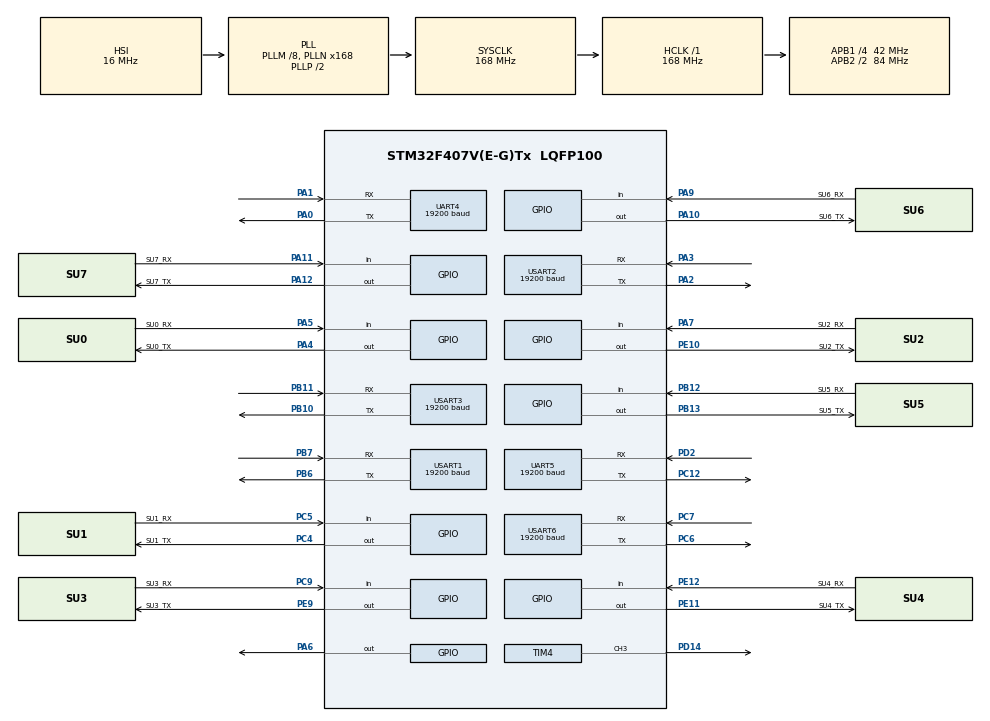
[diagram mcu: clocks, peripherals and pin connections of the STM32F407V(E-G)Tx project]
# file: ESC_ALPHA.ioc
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FREERTOS.Tasks01=defaultTask,0,128,StartDefaultTask,Default,NULL,Dynamic,NULL,NULL
Mcu.Family=STM32F4
Mcu.Name=STM32F407V(E-G)Tx
Mcu.Package=LQFP100
NVIC.PriorityGroup=NVIC_PRIORITYGROUP_4
NVIC.TIM1_UP_TIM10_IRQn=true\:5\:0\:false\:false\:true\:true\:true\:true
NVIC.UART4_IRQn=true\:5\:0\:false\:false\:true\:true\:true\:true
NVIC.UART5_IRQn=true\:5\:0\:false\:false\:true\:true\:true\:true
NVIC.USART1_IRQn=true\:5\:0\:false\:false\:true\:true\:true\:true
NVIC.USART2_IRQn=true\:5\:0\:true\:false\:true\:true\:true\:true
NVIC.USART3_IRQn=true\:5\:0\:false\:false\:true\:true\:true\:true
NVIC.USART6_IRQn=true\:5\:0\:false\:false\:true\:true\:true\:true
PA0-WKUP.Mode=Asynchronous
PA0-WKUP.Signal=UART4_TX
PA1.Mode=Asynchronous
PA1.Signal=UART4_RX
PA10.GPIO_Label=SU6_TX
PA10.Signal=GPIO_Output
PA11.GPIO_Label=SU7_RX
PA11.GPIO_PuPd=GPIO_PULLUP
PA11.Signal=GPIO_Input
PA12.GPIO_Label=SU7_TX
PA12.Signal=GPIO_Output
PA13.Mode=Serial_Wire
PA13.Signal=SYS_JTMS-SWDIO
PA14.Mode=Serial_Wire
PA14.Signal=SYS_JTCK-SWCLK
PA2.Mode=Asynchronous
PA2.Signal=USART2_TX
PA3.GPIO_PuPd=GPIO_PULLUP
PA3.Mode=Asynchronous
PA3.Signal=USART2_RX
PA4.GPIO_Label=SU0_TX
PA4.GPIO_PuPd=GPIO_PULLUP
PA4.GPIO_Speed=GPIO_SPEED_FREQ_VERY_HIGH
PA4.PinState=GPIO_PIN_SET
PA4.Signal=GPIO_Output
PA5.GPIO_Label=SU0_RX
PA5.GPIO_PuPd=GPIO_PULLUP
PA5.Signal=GPIO_Input
PA6.Signal=GPIO_Output
PA7.GPIO_Label=SU2_RX
PA7.GPIO_PuPd=GPIO_PULLUP
PA7.Signal=GPIO_Input
PA9.GPIO_Label=SU6_RX
PA9.GPIO_PuPd=GPIO_PULLUP
PA9.Signal=GPIO_Input
PB10.Mode=Asynchronous
PB10.Signal=USART3_TX
PB11.GPIO_PuPd=GPIO_PULLUP
PB11.Mode=Asynchronous
PB11.Signal=USART3_RX
PB12.GPIO_Label=SU5_RX
PB12.GPIO_PuPd=GPIO_PULLUP
PB12.Signal=GPIO_Input
PB13.GPIO_Label=SU5_TX
PB13.Signal=GPIO_Output
PB6.Mode=Asynchronous
PB6.Signal=USART1_TX
PB7.GPIO_PuPd=GPIO_PULLUP
PB7.Mode=Asynchronous
PB7.Signal=USART1_RX
PC12.Mode=Asynchronous
PC12.Signal=UART5_TX
PC4.GPIO_Label=SU1_TX
PC4.GPIO_Speed=GPIO_SPEED_FREQ_VERY_HIGH
PC4.PinState=GPIO_PIN_SET
PC4.Signal=GPIO_Output
PC5.GPIO_Label=SU1_RX
PC5.GPIO_PuPd=GPIO_PULLUP
PC5.Signal=GPIO_Input
PC6.Mode=Asynchronous
PC6.Signal=USART6_TX
PC7.GPIO_PuPd=GPIO_PULLUP
PC7.Mode=Asynchronous
PC7.Signal=USART6_RX
PC9.GPIO_Label=SU3_RX
PC9.GPIO_PuPd=GPIO_PULLUP
PC9.Signal=GPIO_Input
PD14.Signal=S_TIM4_CH3
PD2.Mode=Asynchronous
PD2.Signal=UART5_RX
PE10.GPIO_Label=SU2_TX
PE10.Signal=GPIO_Output
PE11.GPIO_Label=SU4_TX
PE11.Signal=GPIO_Output
PE12.GPIO_Label=SU4_RX
PE12.GPIO_PuPd=GPIO_PULLUP
PE12.Signal=GPIO_Input
PE9.GPIO_Label=SU3_TX
PE9.Signal=GPIO_Output
PH0-OSC_IN.Mode=HSE-External-Oscillator
PH0-OSC_IN.Signal=RCC_OSC_IN
PH1-OSC_OUT.Mode=HSE-External-Oscillator
PH1-OSC_OUT.Signal=RCC_OSC_OUT
ProjectManager.HeapSize=0x200
ProjectManager.StackSize=0x400
ProjectManager.TargetToolchain=STM32CubeIDE
RCC.48MHZClocksFreq_Value=84000000
RCC.AHBFreq_Value=168000000
RCC.APB1CLKDivider=RCC_HCLK_DIV4
RCC.APB1Freq_Value=42000000
RCC.APB1TimFreq_Value=84000000
RCC.APB2CLKDivider=RCC_HCLK_DIV2
RCC.APB2Freq_Value=84000000
RCC.APB2TimFreq_Value=168000000
RCC.CortexFreq_Value=168000000
RCC.HCLKFreq_Value=168000000
RCC.HSE_VALUE=8000000
RCC.HSI_VALUE=16000000
RCC.LSE_VALUE=32768
RCC.PLLM=8
RCC.PLLN=168
RCC.SYSCLKFreq_VALUE=168000000
RCC.SYSCLKSource=RCC_SYSCLKSOURCE_PLLCLK
RCC.VCOOutputFreq_Value=336000000
SH.S_TIM4_CH3.0=TIM4_CH3,PWM Generation3 CH3
TIM10.AutoReloadPreload=TIM_AUTORELOAD_PRELOAD_ENABLE
TIM10.Period=9
TIM10.Prescaler=175
TIM4.Channel-PWM\ Generation3\ CH3=TIM_CHANNEL_3
TIM4.Period=999
TIM4.Prescaler=167
UART4.BaudRate=19200
UART4.VirtualMode=Asynchronous
UART5.BaudRate=19200
UART5.VirtualMode=Asynchronous
USART1.BaudRate=19200
USART1.VirtualMode=VM_ASYNC
USART2.BaudRate=19200
USART2.Mode=MODE_TX_RX
USART2.VirtualMode=VM_ASYNC
USART3.BaudRate=19200
USART3.Mode=MODE_RX
USART3.VirtualMode=VM_ASYNC
USART6.BaudRate=19200
USART6.VirtualMode=VM_ASYNC
VP_FREERTOS_VS_CMSIS_V1.Mode=CMSIS_V1
VP_TIM10_VS_ClockSourceINT.Mode=Enable_Timer
VP_TIM4_VS_ClockSourceINT.Mode=Internal
board=custom

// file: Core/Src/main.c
/* USER CODE BEGIN Header */
/**
  ******************************************************************************
  * @file           : main.c
  * @brief          : Main program body
  ******************************************************************************
  * @attention
  *
  * <h2><center>&copy; Copyright (c) 2021 STMicroelectronics.
  * All rights reserved.</center></h2>
  *
  * This software component is licensed by ST under BSD 3-Clause license,
  * the "License"; You may not use this file except in compliance with the
  * License. You may obtain a copy of the License at:
  *                        opensource.org/licenses/BSD-3-Clause
  *
  ******************************************************************************
  */
/* USER CODE END Header */
#include "main.h"
#include "cmsis_os.h"

/* USER CODE BEGIN Includes */
#include "ringbuf.h"
#include "telemetry_rtr.h"
#include "softuart.h"
//#include "mavlink/telemetry/mavlink.h"
#include "c_library_v2-master/ardupilotmega/mavlink.h"
/* USER CODE END Includes */

/* USER CODE BEGIN PD */
#define RXBUFFERSIZE        1
#define RINGBUF_BUFF_LEN    100
#define SYSTEM_ID           1
#define COMPONENT_ID        0
/* USER CODE END PD */

TIM_HandleTypeDef htim4;
TIM_HandleTypeDef htim10;

UART_HandleTypeDef huart4;
UART_HandleTypeDef huart5;
UART_HandleTypeDef huart1;
UART_HandleTypeDef huart2;
UART_HandleTypeDef huart3;
UART_HandleTypeDef huart6;

osThreadId defaultTaskHandle;
/* USER CODE BEGIN PV */
static volatile RINGBUF *ringbuf0;
static volatile RINGBUF *ringbuf1;
static volatile RINGBUF *ringbuf2;
static volatile RINGBUF *ringbuf3;
static volatile RINGBUF *ringbuf4;
static volatile RINGBUF *ringbuf5;
static volatile RINGBUF *ringbuf6;
static volatile RINGBUF *ringbuf7;
TelemetryType telemetry0, telemetry1, telemetry2, telemetry3, telemetry4, telemetry5, telemetry6, telemetry7, TelemetryArray[8];
ReceiveStatusTyte recStatus0, recStatus1, recStatus2, recStatus3, recStatus4, recStatus5, recStatus6, recStatus7;
RINGBUF ring_0, ring_1, ring_2, ring_3, ring_4, ring_5, ring_6, ring_7;
osThreadId ESC0, ESC1, ESC2, ESC3, ESC4, ESC5, ESC6, ESC7;
/* USER CODE END PV */

void SystemClock_Config(void);
static void MX_GPIO_Init(void);
static void MX_USART2_UART_Init(void);
static void MX_TIM10_Init(void);
static void MX_USART3_UART_Init(void);
static void MX_UART4_Init(void);
static void MX_UART5_Init(void);
static void MX_USART1_UART_Init(void);
static void MX_USART6_UART_Init(void);
static void MX_TIM4_Init(void);
void StartDefaultTask(void const * argument);

/* USER CODE BEGIN PFP */
void Parse_ESC0(void const * parameter);
void Parse_ESC1(void const * parameter);
void Parse_ESC2(void const * parameter);
void Parse_ESC3(void const * parameter);
void Parse_ESC4(void const * parameter);
void Parse_ESC5(void const * parameter);
void Parse_ESC6(void const * parameter);
void Parse_ESC7(void const * parameter);

uint8_t aRxBuffer_0, aRxBuffer_1, aRxBuffer_2, aRxBuffer_3, aRxBuffer_4, aRxBuffer_5, aRxBuffer_6, aRxBuffer_7;
uint8_t ptBufferUART0[RINGBUF_BUFF_LEN], ptBufferUART1[RINGBUF_BUFF_LEN], ptBufferUART2[RINGBUF_BUFF_LEN], ptBufferUART3[RINGBUF_BUFF_LEN],
		ptBufferUART4[RINGBUF_BUFF_LEN], ptBufferUART5[RINGBUF_BUFF_LEN], ptBufferUART6[RINGBUF_BUFF_LEN], ptBufferUART7[RINGBUF_BUFF_LEN];
uint8_t c0,c1,c2,c3,c4,c5,c6,c7;
uint8_t PWM=0;
char a[20], b[20];
int failESC0 = 0;
int failESC1 = 0;
int failESC2 = 0;
int failESC3 = 0;
int failESC4 = 0;
int failESC5 = 0;
int failESC6 = 0;
int failESC7 = 0;
int successESC0 = 0;
int successESC1 = 0;
int successESC2 = 0;
int successESC3 = 0;
int successESC4 = 0;
int successESC5 = 0;
int successESC6 = 0;
int successESC7 = 0;
/* USER CODE END PFP */

/* USER CODE BEGIN 0 */

uint8_t getdata(uint8_t SoftUartNumber)
{
    uint8_t ch;
    while(SoftUartRxAlavailable(SoftUartNumber)==0);
    SoftUartReadRxBuffer(SoftUartNumber,&ch,1);
    return ch;
}

mavlink_esc_telemetry_1_to_4_t esc1 = {0};
mavlink_esc_telemetry_5_to_8_t esc2 = {0};
void transmit_mavlink_esc_1_to_4(mavlink_esc_telemetry_1_to_4_t esc){
    mavlink_message_t msg;
    uint8_t _buffer[100]= {0};
    for (int i = 0; i<4; i++){
        esc.voltage[i] = TelemetryArray[i].voltage;
        esc.count[i] = TelemetryArray[i].BaleNo;
        esc.totalcurrent[i] = TelemetryArray[i].current;
        esc.rpm[i] = TelemetryArray[i].rpm;
        esc.current[i] = TelemetryArray[i].phase;
    }
    mavlink_msg_esc_telemetry_1_to_4_encode(SYSTEM_ID, COMPONENT_ID, &msg, &esc);
    uint8_t len = mavlink_msg_to_send_buffer(_buffer, &msg);
//    SoftUartPuts(0, _buffer, len);
    HAL_UART_Transmit(&huart4, _buffer, len, 100);
//    HAL_UART_Transmit_IT(&huart4, _buffer, len);
}
void transmit_mavlink_esc_5_to_8(mavlink_esc_telemetry_5_to_8_t esc){
    mavlink_message_t msg;
    uint8_t _buffer[100]= {0};
    for (int i = 0; i<4; i++){
        esc.voltage[i] = TelemetryArray[i+4].voltage;
        esc.count[i] = TelemetryArray[i+4].BaleNo;
        esc.totalcurrent[i] = TelemetryArray[i+4].current;
        esc.rpm[i] = TelemetryArray[i+4].rpm;
        esc.current[i] = TelemetryArray[i+4].phase;
    }
    mavlink_msg_esc_telemetry_5_to_8_encode(SYSTEM_ID, COMPONENT_ID, &msg, &esc);
    uint8_t len = mavlink_msg_to_send_buffer(_buffer, &msg);
//    SoftUartPuts(0, _buffer, len);
    HAL_UART_Transmit(&huart4, _buffer, len, 100);
//    HAL_UART_Transmit_IT(&huart4, _buffer, len);
}
/* USER CODE END 0 */

int main(void)
{

  /* MCU Configuration--------------------------------------------------------*/

  /* Reset of all peripherals, Initializes the Flash interface and the Systick. */
  HAL_Init();

  /* Configure the system clock */
  SystemClock_Config();

  /* Initialize all configured peripherals */
  MX_GPIO_Init();
  MX_USART2_UART_Init();
  MX_TIM10_Init();
  MX_USART3_UART_Init();
  MX_UART4_Init();
  MX_UART5_Init();
  MX_USART1_UART_Init();
  MX_USART6_UART_Init();
  MX_TIM4_Init();
  /* USER CODE BEGIN 2 */
  HAL_TIM_PWM_Start(&htim4, TIM_CHANNEL_3);
//  __HAL_TIM_SetCompare(&htim4,TIM_CHANNEL_3,600);
  HAL_UART_Receive_IT(&huart1, &aRxBuffer_1, RXBUFFERSIZE);
  HAL_UART_Receive_IT(&huart2, &aRxBuffer_2, RXBUFFERSIZE);
  HAL_UART_Receive_IT(&huart3, &aRxBuffer_3, RXBUFFERSIZE);
  HAL_UART_Receive_IT(&huart4, &aRxBuffer_4, RXBUFFERSIZE);
  HAL_UART_Receive_IT(&huart5, &aRxBuffer_5, RXBUFFERSIZE);
  HAL_UART_Receive_IT(&huart6, &aRxBuffer_6, RXBUFFERSIZE);
  HAL_TIM_Base_Start_IT(&htim10);

  ringbuf0 = &ring_0;
  ringbuf1 = &ring_1;
  ringbuf2 = &ring_2;
  ringbuf3 = &ring_3;
  ringbuf4 = &ring_4;
  ringbuf5 = &ring_5;
  ringbuf6 = &ring_6;
  ringbuf7 = &ring_7;

  RINGBUF_Init((RINGBUF*)ringbuf0, ptBufferUART0, RINGBUF_BUFF_LEN);
  RINGBUF_Init((RINGBUF*)ringbuf1, ptBufferUART1, RINGBUF_BUFF_LEN);
  RINGBUF_Init((RINGBUF*)ringbuf2, ptBufferUART2, RINGBUF_BUFF_LEN);
  RINGBUF_Init((RINGBUF*)ringbuf4, ptBufferUART4, RINGBUF_BUFF_LEN);
  RINGBUF_Init((RINGBUF*)ringbuf3, ptBufferUART3, RINGBUF_BUFF_LEN);
  RINGBUF_Init((RINGBUF*)ringbuf5, ptBufferUART5, RINGBUF_BUFF_LEN);
  RINGBUF_Init((RINGBUF*)ringbuf6, ptBufferUART6, RINGBUF_BUFF_LEN);
  RINGBUF_Init((RINGBUF*)ringbuf7, ptBufferUART7, RINGBUF_BUFF_LEN);

  SoftUartInit(0, SU0_TX_GPIO_Port, SU0_TX_Pin, SU0_RX_GPIO_Port, SU0_RX_Pin);
  SoftUartInit(1, SU1_TX_GPIO_Port, SU1_TX_Pin, SU1_RX_GPIO_Port, SU1_RX_Pin);
  SoftUartInit(2, SU2_TX_GPIO_Port, SU2_TX_Pin, SU2_RX_GPIO_Port, SU2_RX_Pin);
//  SoftUartInit(3, SU4_TX_GPIO_Port, SU4_TX_Pin, SU4_RX_GPIO_Port, SU4_RX_Pin);
//  SoftUartInit(5, SU5_TX_GPIO_Port, SU5_TX_Pin, SU5_RX_GPIO_Port, SU5_RX_Pin);
//  SoftUartInit(4, SU7_TX_GPIO_Port, SU7_TX_Pin, SU7_RX_GPIO_Port, SU7_RX_Pin);

  SoftUartEnableRx(0);
  SoftUartEnableRx(1);
  SoftUartEnableRx(2);
//  SoftUartEnableRx(3);
//  SoftUartEnableRx(4);
//  SoftUartEnableRx(5);

  /* USER CODE END 2 */

  /* Create the thread(s) */
  /* definition and creation of defaultTask */
//  osThreadDef(defaultTask, StartDefaultTask, osPriorityNormal, 0, 128);
//  defaultTaskHandle = osThreadCreate(osThread(defaultTask), NULL);

  /* USER CODE BEGIN RTOS_THREADS */
// osThreadDef(Task0, Parse_ESC0, osPriorityHigh, 0, 128);
// ESC0 = osThreadCreate(osThread(Task0), NULL);
  osThreadDef(Task1, Parse_ESC1, osPriorityHigh, 0, 128);
  ESC1 = osThreadCreate(osThread(Task1), NULL);
  osThreadDef(Task2, Parse_ESC2, osPriorityHigh, 0, 512);
  ESC2 = osThreadCreate(osThread(Task2), NULL);
//  osThreadDef(Task3, Parse_ESC3, osPriorityHigh, 0, 256);
//  ESC3 = osThreadCreate(osThread(Task3), NULL);
//  osThreadDef(Task4, Parse_ESC4, osPriorityNormal, 0, 128);
//  ESC4 = osThreadCreate(osThread(Task4), NULL);
//  osThreadDef(Task5, Parse_ESC5, osPriorityNormal, 0, 128);
//  ESC5 = osThreadCreate(osThread(Task5), NULL);
//  osThreadDef(Task6, Parse_ESC6, osPriorityNormal, 0, 128);
//  ESC6 = osThreadCreate(osThread(Task6), NULL);
//  osThreadDef(Task7, Parse_ESC7, osPriorityHigh, 0, 128);
//  ESC7 = osThreadCreate(osThread(Task7), NULL);

  /* add threads, ... */
  /* USER CODE END RTOS_THREADS */

  /* Start scheduler */
  osKernelStart();

  /* We should never get here as control is now taken by the scheduler */
  /* Infinite loop */
  while (1)
  {

  }
}

void SystemClock_Config(void)
{
  RCC_OscInitTypeDef RCC_OscInitStruct = {0};
  RCC_ClkInitTypeDef RCC_ClkInitStruct = {0};

  /** Configure the main internal regulator output voltage
  */
  __HAL_RCC_PWR_CLK_ENABLE();
  __HAL_PWR_VOLTAGESCALING_CONFIG(PWR_REGULATOR_VOLTAGE_SCALE1);
  /** Initializes the RCC Oscillators according to the specified parameters
  * in the RCC_OscInitTypeDef structure.
  */
  RCC_OscInitStruct.OscillatorType = RCC_OSCILLATORTYPE_HSI;
  RCC_OscInitStruct.HSIState = RCC_HSI_ON;
  RCC_OscInitStruct.HSICalibrationValue = RCC_HSICALIBRATION_DEFAULT;
  RCC_OscInitStruct.PLL.PLLState = RCC_PLL_ON;
  RCC_OscInitStruct.PLL.PLLSource = RCC_PLLSOURCE_HSI;
  RCC_OscInitStruct.PLL.PLLM = 8;
  RCC_OscInitStruct.PLL.PLLN = 168;
  RCC_OscInitStruct.PLL.PLLP = RCC_PLLP_DIV2;
  RCC_OscInitStruct.PLL.PLLQ = 4;
  if (HAL_RCC_OscConfig(&RCC_OscInitStruct) != HAL_OK)
  {
    Error_Handler();
  }
  /** Initializes the CPU, AHB and APB buses clocks
  */
  RCC_ClkInitStruct.ClockType = RCC_CLOCKTYPE_HCLK|RCC_CLOCKTYPE_SYSCLK
                              |RCC_CLOCKTYPE_PCLK1|RCC_CLOCKTYPE_PCLK2;
  RCC_ClkInitStruct.SYSCLKSource = RCC_SYSCLKSOURCE_PLLCLK;
  RCC_ClkInitStruct.AHBCLKDivider = RCC_SYSCLK_DIV1;
  RCC_ClkInitStruct.APB1CLKDivider = RCC_HCLK_DIV4;
  RCC_ClkInitStruct.APB2CLKDivider = RCC_HCLK_DIV2;

  if (HAL_RCC_ClockConfig(&RCC_ClkInitStruct, FLASH_LATENCY_5) != HAL_OK)
  {
    Error_Handler();
  }
}

static void MX_TIM4_Init(void)
{

  TIM_ClockConfigTypeDef sClockSourceConfig = {0};
  TIM_MasterConfigTypeDef sMasterConfig = {0};
  TIM_OC_InitTypeDef sConfigOC = {0};

  htim4.Instance = TIM4;
  htim4.Init.Prescaler = 167;
  htim4.Init.CounterMode = TIM_COUNTERMODE_UP;
  htim4.Init.Period = 999;
  htim4.Init.ClockDivision = TIM_CLOCKDIVISION_DIV1;
  htim4.Init.AutoReloadPreload = TIM_AUTORELOAD_PRELOAD_DISABLE;
  if (HAL_TIM_Base_Init(&htim4) != HAL_OK)
  {
    Error_Handler();
  }
  sClockSourceConfig.ClockSource = TIM_CLOCKSOURCE_INTERNAL;
  if (HAL_TIM_ConfigClockSource(&htim4, &sClockSourceConfig) != HAL_OK)
  {
    Error_Handler();
  }
  if (HAL_TIM_PWM_Init(&htim4) != HAL_OK)
  {
    Error_Handler();
  }
  sMasterConfig.MasterOutputTrigger = TIM_TRGO_RESET;
  sMasterConfig.MasterSlaveMode = TIM_MASTERSLAVEMODE_DISABLE;
  if (HAL_TIMEx_MasterConfigSynchronization(&htim4, &sMasterConfig) != HAL_OK)
  {
    Error_Handler();
  }
  sConfigOC.OCMode = TIM_OCMODE_PWM1;
  sConfigOC.Pulse = 0;
  sConfigOC.OCPolarity = TIM_OCPOLARITY_HIGH;
  sConfigOC.OCFastMode = TIM_OCFAST_DISABLE;
  if (HAL_TIM_PWM_ConfigChannel(&htim4, &sConfigOC, TIM_CHANNEL_3) != HAL_OK)
  {
    Error_Handler();
  }
  HAL_TIM_MspPostInit(&htim4);

}

static void MX_TIM10_Init(void)
{

  htim10.Instance = TIM10;
  htim10.Init.Prescaler = 175;
  htim10.Init.CounterMode = TIM_COUNTERMODE_UP;
  htim10.Init.Period = 9;
  htim10.Init.ClockDivision = TIM_CLOCKDIVISION_DIV1;
  htim10.Init.AutoReloadPreload = TIM_AUTORELOAD_PRELOAD_ENABLE;
  if (HAL_TIM_Base_Init(&htim10) != HAL_OK)
  {
    Error_Handler();
  }

}

static void MX_UART4_Init(void)
{

  huart4.Instance = UART4;
  huart4.Init.BaudRate = 19200;
  huart4.Init.WordLength = UART_WORDLENGTH_8B;
  huart4.Init.StopBits = UART_STOPBITS_1;
  huart4.Init.Parity = UART_PARITY_NONE;
  huart4.Init.Mode = UART_MODE_TX_RX;
  huart4.Init.HwFlowCtl = UART_HWCONTROL_NONE;
  huart4.Init.OverSampling = UART_OVERSAMPLING_16;
  if (HAL_UART_Init(&huart4) != HAL_OK)
  {
    Error_Handler();
  }

}

static void MX_UART5_Init(void)
{

  huart5.Instance = UART5;
  huart5.Init.BaudRate = 19200;
  huart5.Init.WordLength = UART_WORDLENGTH_8B;
  huart5.Init.StopBits = UART_STOPBITS_1;
  huart5.Init.Parity = UART_PARITY_NONE;
  huart5.Init.Mode = UART_MODE_TX_RX;
  huart5.Init.HwFlowCtl = UART_HWCONTROL_NONE;
  huart5.Init.OverSampling = UART_OVERSAMPLING_16;
  if (HAL_UART_Init(&huart5) != HAL_OK)
  {
    Error_Handler();
  }

}

static void MX_USART1_UART_Init(void)
{

  huart1.Instance = USART1;
  huart1.Init.BaudRate = 19200;
  huart1.Init.WordLength = UART_WORDLENGTH_8B;
  huart1.Init.StopBits = UART_STOPBITS_1;
  huart1.Init.Parity = UART_PARITY_NONE;
  huart1.Init.Mode = UART_MODE_TX_RX;
  huart1.Init.HwFlowCtl = UART_HWCONTROL_NONE;
  huart1.Init.OverSampling = UART_OVERSAMPLING_16;
  if (HAL_UART_Init(&huart1) != HAL_OK)
  {
    Error_Handler();
  }

}

static void MX_USART2_UART_Init(void)
{

  huart2.Instance = USART2;
  huart2.Init.BaudRate = 19200;
  huart2.Init.WordLength = UART_WORDLENGTH_8B;
  huart2.Init.StopBits = UART_STOPBITS_1;
  huart2.Init.Parity = UART_PARITY_NONE;
  huart2.Init.Mode = UART_MODE_TX_RX;
  huart2.Init.HwFlowCtl = UART_HWCONTROL_NONE;
  huart2.Init.OverSampling = UART_OVERSAMPLING_16;
  if (HAL_UART_Init(&huart2) != HAL_OK)
  {
    Error_Handler();
  }

}

static void MX_USART3_UART_Init(void)
{

  huart3.Instance = USART3;
  huart3.Init.BaudRate = 19200;
  huart3.Init.WordLength = UART_WORDLENGTH_8B;
  huart3.Init.StopBits = UART_STOPBITS_1;
  huart3.Init.Parity = UART_PARITY_NONE;
  huart3.Init.Mode = UART_MODE_RX;
  huart3.Init.HwFlowCtl = UART_HWCONTROL_NONE;
  huart3.Init.OverSampling = UART_OVERSAMPLING_16;
  if (HAL_UART_Init(&huart3) != HAL_OK)
  {
    Error_Handler();
  }

}

static void MX_USART6_UART_Init(void)
{

  huart6.Instance = USART6;
  huart6.Init.BaudRate = 19200;
  huart6.Init.WordLength = UART_WORDLENGTH_8B;
  huart6.Init.StopBits = UART_STOPBITS_1;
  huart6.Init.Parity = UART_PARITY_NONE;
  huart6.Init.Mode = UART_MODE_TX_RX;
  huart6.Init.HwFlowCtl = UART_HWCONTROL_NONE;
  huart6.Init.OverSampling = UART_OVERSAMPLING_16;
  if (HAL_UART_Init(&huart6) != HAL_OK)
  {
    Error_Handler();
  }

}

static void MX_GPIO_Init(void)
{
  GPIO_InitTypeDef GPIO_InitStruct = {0};

  /* GPIO Ports Clock Enable */
  __HAL_RCC_GPIOH_CLK_ENABLE();
  __HAL_RCC_GPIOA_CLK_ENABLE();
  __HAL_RCC_GPIOC_CLK_ENABLE();
  __HAL_RCC_GPIOE_CLK_ENABLE();
  __HAL_RCC_GPIOB_CLK_ENABLE();
  __HAL_RCC_GPIOD_CLK_ENABLE();

  /*Configure GPIO pin Output Level */
  HAL_GPIO_WritePin(SU0_TX_GPIO_Port, SU0_TX_Pin, GPIO_PIN_SET);

  /*Configure GPIO pin Output Level */
  HAL_GPIO_WritePin(GPIOA, GPIO_PIN_6|SU6_TX_Pin|SU7_TX_Pin, GPIO_PIN_RESET);

  /*Configure GPIO pin Output Level */
  HAL_GPIO_WritePin(SU1_TX_GPIO_Port, SU1_TX_Pin, GPIO_PIN_SET);

  /*Configure GPIO pin Output Level */
  HAL_GPIO_WritePin(GPIOE, SU3_TX_Pin|SU2_TX_Pin|SU4_TX_Pin, GPIO_PIN_RESET);

  /*Configure GPIO pin Output Level */
  HAL_GPIO_WritePin(SU5_TX_GPIO_Port, SU5_TX_Pin, GPIO_PIN_RESET);

  /*Configure GPIO pin : SU0_TX_Pin */
  GPIO_InitStruct.Pin = SU0_TX_Pin;
  GPIO_InitStruct.Mode = GPIO_MODE_OUTPUT_PP;
  GPIO_InitStruct.Pull = GPIO_PULLUP;
  GPIO_InitStruct.Speed = GPIO_SPEED_FREQ_VERY_HIGH;
  HAL_GPIO_Init(SU0_TX_GPIO_Port, &GPIO_InitStruct);

  /*Configure GPIO pins : SU0_RX_Pin SU2_RX_Pin SU6_RX_Pin SU7_RX_Pin */
  GPIO_InitStruct.Pin = SU0_RX_Pin|SU2_RX_Pin|SU6_RX_Pin|SU7_RX_Pin;
  GPIO_InitStruct.Mode = GPIO_MODE_INPUT;
  GPIO_InitStruct.Pull = GPIO_PULLUP;
  HAL_GPIO_Init(GPIOA, &GPIO_InitStruct);

  /*Configure GPIO pins : PA6 SU6_TX_Pin SU7_TX_Pin */
  GPIO_InitStruct.Pin = GPIO_PIN_6|SU6_TX_Pin|SU7_TX_Pin;
  GPIO_InitStruct.Mode = GPIO_MODE_OUTPUT_PP;
  GPIO_InitStruct.Pull = GPIO_NOPULL;
  GPIO_InitStruct.Speed = GPIO_SPEED_FREQ_LOW;
  HAL_GPIO_Init(GPIOA, &GPIO_InitStruct);

  /*Configure GPIO pin : SU1_TX_Pin */
  GPIO_InitStruct.Pin = SU1_TX_Pin;
  GPIO_InitStruct.Mode = GPIO_MODE_OUTPUT_PP;
  GPIO_InitStruct.Pull = GPIO_NOPULL;
  GPIO_InitStruct.Speed = GPIO_SPEED_FREQ_VERY_HIGH;
  HAL_GPIO_Init(SU1_TX_GPIO_Port, &GPIO_InitStruct);

  /*Configure GPIO pins : SU1_RX_Pin SU3_RX_Pin */
  GPIO_InitStruct.Pin = SU1_RX_Pin|SU3_RX_Pin;
  GPIO_InitStruct.Mode = GPIO_MODE_INPUT;
  GPIO_InitStruct.Pull = GPIO_PULLUP;
  HAL_GPIO_Init(GPIOC, &GPIO_InitStruct);

  /*Configure GPIO pins : SU3_TX_Pin SU2_TX_Pin SU4_TX_Pin */
  GPIO_InitStruct.Pin = SU3_TX_Pin|SU2_TX_Pin|SU4_TX_Pin;
  GPIO_InitStruct.Mode = GPIO_MODE_OUTPUT_PP;
  GPIO_InitStruct.Pull = GPIO_NOPULL;
  GPIO_InitStruct.Speed = GPIO_SPEED_FREQ_LOW;
  HAL_GPIO_Init(GPIOE, &GPIO_InitStruct);

  /*Configure GPIO pin : SU4_RX_Pin */
  GPIO_InitStruct.Pin = SU4_RX_Pin;
  GPIO_InitStruct.Mode = GPIO_MODE_INPUT;
  GPIO_InitStruct.Pull = GPIO_PULLUP;
  HAL_GPIO_Init(SU4_RX_GPIO_Port, &GPIO_InitStruct);

  /*Configure GPIO pin : SU5_RX_Pin */
  GPIO_InitStruct.Pin = SU5_RX_Pin;
  GPIO_InitStruct.Mode = GPIO_MODE_INPUT;
  GPIO_InitStruct.Pull = GPIO_PULLUP;
  HAL_GPIO_Init(SU5_RX_GPIO_Port, &GPIO_InitStruct);

  /*Configure GPIO pin : SU5_TX_Pin */
  GPIO_InitStruct.Pin = SU5_TX_Pin;
  GPIO_InitStruct.Mode = GPIO_MODE_OUTPUT_PP;
  GPIO_InitStruct.Pull = GPIO_NOPULL;
  GPIO_InitStruct.Speed = GPIO_SPEED_FREQ_LOW;
  HAL_GPIO_Init(SU5_TX_GPIO_Port, &GPIO_InitStruct);

}

/* USER CODE BEGIN 4 */
void HAL_UART_RxCpltCallback(UART_HandleTypeDef *huart) {
/* ESC 1 ---------------------------------------------------------*/
	if (HAL_UART_Receive_IT(&huart1, &aRxBuffer_1, RXBUFFERSIZE) == HAL_OK) {
		RINGBUF_Put((RINGBUF*) ringbuf1, aRxBuffer_1);
		RINGBUF_Get((RINGBUF*) ringbuf1, &c1);
		int x1 = telemetryParse(c1, &telemetry1, &recStatus1);
		if (x1 == PARSE_OK){
			successESC1++;
			TelemetryArray[1] = telemetry1;
		}
		else if (x1 == PARSE_ERROR){
			failESC1++;
		}
	}
/* ESC 2 ---------------------------------------------------------*/
	if (HAL_UART_Receive_IT(&huart2, &aRxBuffer_2, RXBUFFERSIZE) == HAL_OK) {
		RINGBUF_Put((RINGBUF*) ringbuf2, aRxBuffer_2);
		RINGBUF_Get((RINGBUF*) ringbuf2, &c2);
		int x2 = telemetryParse(c2, &telemetry2, &recStatus2);
		if (x2 == PARSE_OK){
			successESC2++;
			TelemetryArray[2] = telemetry2;
		}
		else if (x2 == PARSE_ERROR){
			failESC2++;
		}
	}
/* ESC 3 ---------------------------------------------------------*/
	if (HAL_UART_Receive_IT(&huart3, &aRxBuffer_3, RXBUFFERSIZE) == HAL_OK) {
		RINGBUF_Put((RINGBUF*) ringbuf3, aRxBuffer_3);
		RINGBUF_Get((RINGBUF*) ringbuf3, &c3);
		int x3 = telemetryParse(c3, &telemetry3, &recStatus3);
		if (x3 == PARSE_OK){
			successESC3++;
			TelemetryArray[3] = telemetry3;
		}
		else if (x3 == PARSE_ERROR){
			failESC3++;
		}
	}
/* ESC 4 ---------------------------------------------------------*/
	if (HAL_UART_Receive_IT(&huart4, &aRxBuffer_4, RXBUFFERSIZE) == HAL_OK) {
		RINGBUF_Put((RINGBUF*) ringbuf4, aRxBuffer_4);
		RINGBUF_Get((RINGBUF*) ringbuf4, &c4);
		int x4 = telemetryParse(c4, &telemetry4, &recStatus4);
		if (x4 == PARSE_OK){
			successESC4++;
			TelemetryArray[4] = telemetry4;
		}
		else if (x4 == PARSE_ERROR){
			failESC4++;
		}
	}
/* ESC 5 ---------------------------------------------------------*/
	if (HAL_UART_Receive_IT(&huart5, &aRxBuffer_5, RXBUFFERSIZE) == HAL_OK) {
		RINGBUF_Put((RINGBUF*) ringbuf5, aRxBuffer_5);
		RINGBUF_Get((RINGBUF*) ringbuf5, &c5);
		int x5 = telemetryParse(c5, &telemetry5, &recStatus5);
		if (x5 == PARSE_OK){
			successESC5++;
			TelemetryArray[5] = telemetry5;
		}
		else if (x5 == PARSE_ERROR){
			failESC5++;
		}
	}
/* ESC 6 ---------------------------------------------------------*/
  if (HAL_UART_Receive_IT(&huart6, &aRxBuffer_6, RXBUFFERSIZE) == HAL_OK) {
	  RINGBUF_Put((RINGBUF*) ringbuf6, aRxBuffer_6);
	  RINGBUF_Get((RINGBUF*) ringbuf6, &c6);
	  int x6 = telemetryParse(c6, &telemetry6, &recStatus6);
	  if (x6 == PARSE_OK){
		  successESC6++;
		  TelemetryArray[6] = telemetry6;
	  }
	  else if (x6 == PARSE_ERROR){
		  failESC6++;
	  }
  }
}
/* ESC 0 && ESC 7 ---------------------------------------------------------*/
void Parse_ESC1(void const *parameter){
	while (1){
		aRxBuffer_0 = getdata(0);
		aRxBuffer_7 = getdata(1);
		RINGBUF_Put((RINGBUF*) ringbuf0, aRxBuffer_0);
		RINGBUF_Put((RINGBUF*) ringbuf7, aRxBuffer_7);
		RINGBUF_Get((RINGBUF*) ringbuf0, &c0);
		RINGBUF_Get((RINGBUF*) ringbuf7, &c7);
		int x0 = telemetryParse(c0, &telemetry0, &recStatus0);
		if (x0 == PARSE_OK){
			successESC0++;
			TelemetryArray[0] = telemetry0;
		}
		else if (x0 == PARSE_ERROR){
			failESC0++;
		}
		int x7 = telemetryParse(c7, &telemetry7, &recStatus7);
		if (x7 == PARSE_OK){
			successESC7++;
			TelemetryArray[7] = telemetry7;
		}
		else if (x7 == PARSE_ERROR){
			failESC7++;
		}
	}
}
void Parse_ESC2(void const *parameter){
	while (1){
		  transmit_mavlink_esc_1_to_4(esc1);
		  osDelay(10);
		  transmit_mavlink_esc_5_to_8(esc2);
		  osDelay(10);
	}
}
void Parse_ESC3(void const *parameter){
	while (1){
//		aRxBuffer_5 = getdata(2);
//		int x5 = telemetryParse(c5, &telemetry5, &recStatus5);
//		if (x5 == PARSE_OK){
//			successESC5++;
//			TelemetryArray[5] = telemetry5;
//		}
//		else if (x5 == PARSE_ERROR){
//			failESC5++;
//		}
	}
}
void Parse_ESC4(void const *parameter){
	while (1){}
}
void Parse_ESC5(void const *parameter){
	while (1){}
}
void Parse_ESC6(void const *parameter){
	while (1){}
}
void HAL_TIM_PeriodElapsedCallback(TIM_HandleTypeDef *htim)
{
	if(htim->Instance == TIM10)
	{
		SoftUartHandler();
	}
}
/* USER CODE END 4 */

void StartDefaultTask(void const * argument)
{
  for(;;)
  {
    osDelay(1);
  }
}

void Error_Handler(void)
{
  __disable_irq();
  while (1)
  {
  }
}

/************************ (C) COPYRIGHT STMicroelectronics *****END OF FILE****/
